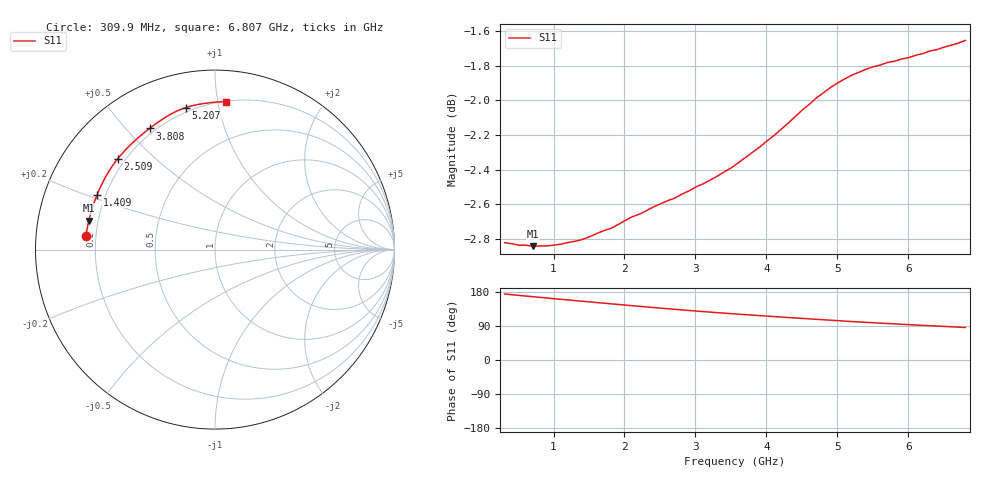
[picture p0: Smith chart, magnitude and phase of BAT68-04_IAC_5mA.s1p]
! Infineon Technologies  Discrete & RF Semiconductors
! BAT68-04
! IAC = 5 mA
! One-Port S-Parameters
# Hz  S  MA  R  50
!f  S11
!Hz  Mag  Ang
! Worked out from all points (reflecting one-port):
!   66 points, 309.9 MHz to 6.807 GHz, reference 50 ohm
!   lowest |S11| = -2.8 dB at 709.6 MHz (marker M1), VSWR 6.17, Z = 8.21 + j5.54 ohm
!   phase of S11 starts at 174 deg and turns -88 deg over the sweep
!   S11 on the Smith chart (normalised r, x): 309.9 MHz: 0.16, +0.05; 1.409 GHz: 0.17, +0.22; 2.509 GHz: 0.17, +0.39; 3.808 GHz: 0.18, +0.58; 5.207 GHz: 0.18, +0.80; 6.807 GHz: 0.20, +1.06
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3.0985e8  0.7227 174.1
5.0975e8  0.7215 170.6
7.0965e8  0.721 167.0
1.0095e9  0.7215 161.7
1.2094e9  0.7228 158.4
1.4093e9  0.7243 155.0
1.50925e9  0.7255 153.4
1.70915e9  0.7285 149.9
2.009e9  0.7334 145.0
2.10895e9  0.7352 143.3
2.4088e9  0.74 138.5
2.50875e9  0.7416 136.8
2.8086e9  0.7464 132.3
2.90855e9  0.7479 130.7
3.10845e9  0.7515 127.8
3.30835e9  0.7554 125.0
3.6082e9  0.7622 120.9
3.8081e9  0.7675 118.4
4.2079e9  0.7792 113.3
4.4078e9  0.7859 110.9
4.8076e9  0.7984 106.2
5.0075e9  0.8036 103.9
5.2074e9  0.8078 101.5
5.4073e9  0.811 99.3
5.6072e9  0.8133 97.2
6.007e9  0.8173 93.3
6.30685e9  0.8209 90.5
6.8066e9  0.8266 85.8
